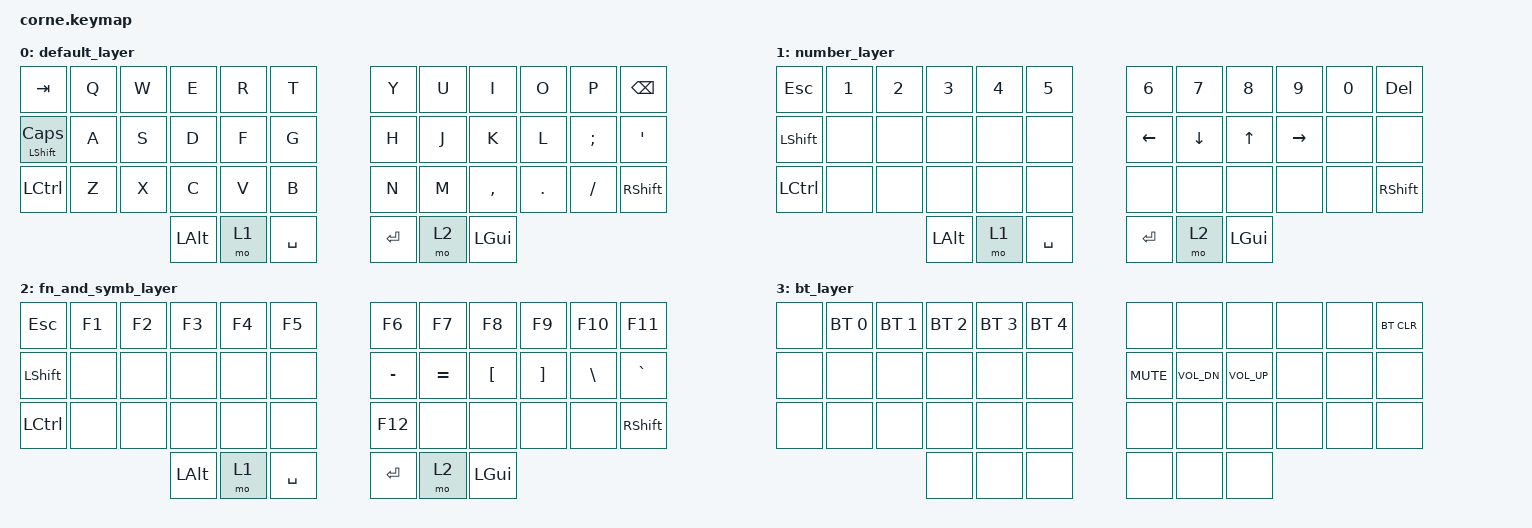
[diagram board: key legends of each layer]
/*
 * Copyright (c) 2020 The ZMK Contributors
 *
 * SPDX-License-Identifier: MIT
 */

#include <behaviors.dtsi>
#include <dt-bindings/zmk/keys.h>
#include <dt-bindings/zmk/bt.h>

/ {
        keymap {
                compatible = "zmk,keymap";

                default_layer {
// -----------------------------------------------------------------------------------------
// |  TAB |  Q  |  W  |  E  |  R  |  T  |   |  Y  |  U   |  I  |  O  |  P  | BSPC |
// | SHFT |  A  |  S  |  D  |  F  |  G  |   |  H  |  J   |  K  |  L  |  ;  |  '   |
// | CTRL |  Z  |  X  |  C  |  V  |  B  |   |  N  |  M   |  ,  |  .  |  /  | SHFT |
//                    | ALT | LWR | SPC |   | ENT | RSE  | GUI |
                        bindings = <
   &kp TAB   &kp Q &kp W &kp E &kp R &kp T   &kp Y &kp U  &kp I     &kp O   &kp P    &kp BSPC
   &mt LSHFT CAPS &kp A &kp S &kp D &kp F &kp G   &kp H &kp J  &kp K     &kp L   &kp SEMI &kp SQT
   &kp LCTRL &kp Z &kp X &kp C &kp V &kp B   &kp N &kp M  &kp COMMA &kp DOT &kp FSLH &kp RSHFT
                  &kp LALT &mo 1 &kp SPACE   &kp RET &mo 2 &kp LGUI
                        >;
                };
                number_layer {
// -----------------------------------------------------------------------------------------
// |  ESC |  1  |  2  |  3  |  4  |  5  |   |  6  |  7  |  8  |  9  |  0  | DEL  |
// | SHFT |     |     |     |     |     |   | LFT | DWN |  UP | RGT |     |      |
// | CTRL |     |     |     |     |     |   |     |     |     |     |     | SHFT |
//                    | ALT |     | SPC |   | ENT |     | GUI |
                        bindings = <
   &kp ESC    &kp N1      &kp N2       &kp N3       &kp N4       &kp N5      &kp N6   &kp N7   &kp N8 &kp N9    &kp N0 &kp DEL
   &kp LSHFT  &none      &none       &none       &none       &none      &kp LEFT &kp DOWN &kp UP &kp RIGHT &none &none
   &kp LCTRL   &none      &none       &none       &none       &none      &none   &none   &none &none    &none &kp RSHFT
                                    &kp LALT     &mo 1       &kp SPACE      &kp RET  &mo 2   &kp LGUI
                        >;
                };
                fn_and_symb_layer {
// -----------------------------------------------------------------------------------------
// |  ESC |  F1 |  F2 |  F3 |  F4 |  F5 |   |  F6 |  F7 |  F8 |  F9 | F10 | F11  |
// | SHFT |     |     |     |     |     |   |  -  |  =  |  [  |  ]  |  \  |  `   |
// | CTRL |     |     |     |     |     |   | F12 |     |     |     |     | SHFT |
//                    | ALT |     | SPC |   | ENT |     | GUI |


                        bindings = <
   &kp  ESC  &kp F1   &kp F2 &kp F3   &kp F4   &kp F5      &kp F6    &kp F7    &kp F8    &kp F9   &kp F10  &kp F11
   &kp LSHFT &none   &none &none   &none   &none      &kp MINUS &kp EQUAL &kp LBKT  &kp RBKT &kp BSLH &kp GRAVE
   &kp LCTRL  &none   &none &none   &none   &none      &kp F12   &none    &none    &none   &none   &kp RSHFT
                             &kp LALT &mo 1   &kp SPACE   &kp RET   &mo 2    &kp LGUI
                        >;
                };
                bt_layer {
// -----------------------------------------------------------------------------------------
// |      | BT1 | BT2 | BT3 | BT4 | BT5 |   |     |     |     |     |     | BTCLR|
// |      |     |     |     |     |     |   |CMUTE|VOLDW|VOLUP|     |     |  `   |
// |      |     |     |     |     |     |   |     |     |     |     |     |      |
//                    |     |     |     |   |     |     |     |␓
                        bindings = <
   &none  &bt BT_SEL 0 &bt BT_SEL 1 &bt BT_SEL 2 &bt BT_SEL 3 &bt BT_SEL 4     &none      &none        &none          &none   &none   &bt BT_CLR
   &none  &none       &none       &none       &none       &none           &kp C_MUTE  &kp C_VOL_DN  &kp C_VOL_UP    &none   &none   &none
   &none  &none       &none       &none       &none       &none           &none      &none        &none          &none   &none   &none
                                     &none       &none       &none           &none      &none        &none
                        >;
                };
        };
};

/ {
    conditional_layers {
        compatible = "zmk,conditional-layers";
        blt_layer {
            if-layers = <1 2>;
            then-layer = <3>;
        };
    };
};
